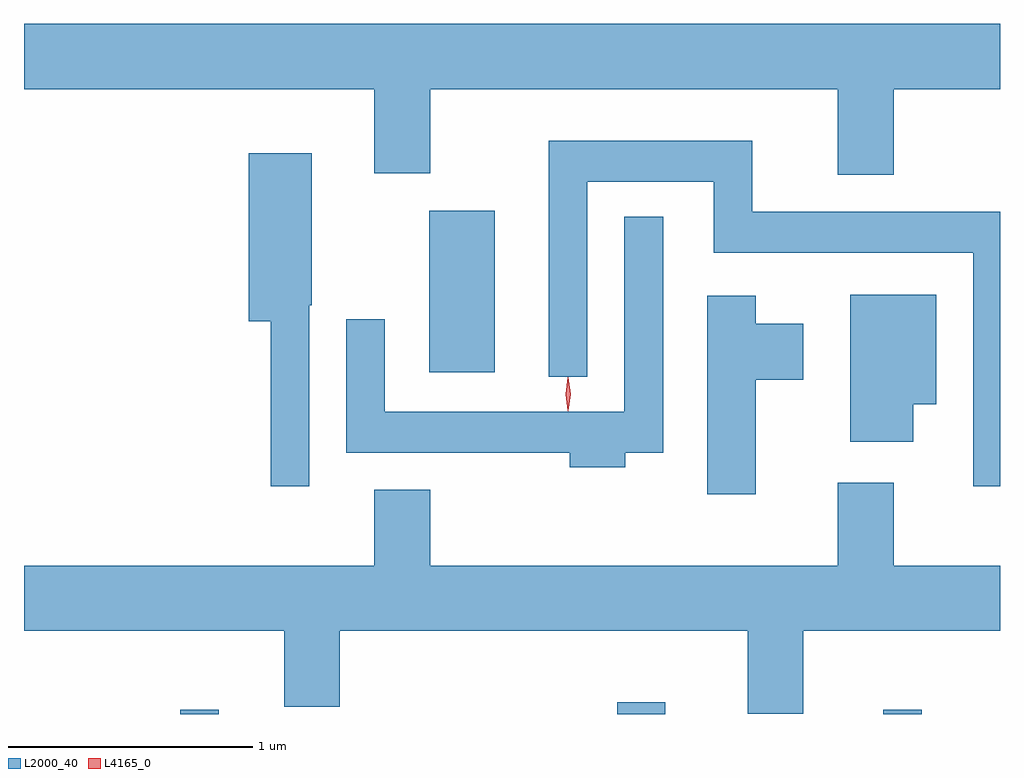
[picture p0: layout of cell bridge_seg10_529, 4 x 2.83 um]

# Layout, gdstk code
import gdstk
lib = gdstk.Library(unit=1e-6, precision=1e-09)
def R(c, l, rs):  # rectangles x0, y0, x1, y1
    for r in rs: c.add(gdstk.rectangle(r[:2], r[2:], *l))
def P(c, l, *ps):  # polygons
    for p in ps: c.add(gdstk.Polygon(p, *l))
L2000_40 = (2000, 40)
L4165_0 = (4165, 0)

bridge_seg10_529 = lib.new_cell('bridge_seg10_529')
R(bridge_seg10_529, L2000_40, [(787.006,2169.075,787.164,2169.093), (788.796,2169.075,788.994,2169.124), (789.886,2169.075,790.044,2169.093), (788.026,2170.476,788.294,2171.139)])
P(bridge_seg10_529, L2000_40, [(789.929,2171.636),(790.365,2171.636),(790.365,2171.904),(786.365,2171.904),(786.365,2171.636),(787.801,2171.636),(787.801,2171.291),(788.029,2171.291),(788.029,2171.636),(789.701,2171.636),(789.701,2171.286),(789.929,2171.286)],
  [(790.365,2171.134),(789.349,2171.134),(789.349,2171.424),(788.516,2171.424),(788.516,2170.458),(788.674,2170.458),(788.674,2171.256),(789.191,2171.256),(789.191,2170.966),(790.256,2170.966),(790.256,2170.008),(790.365,2170.008)],
  [(787.534,2170.75),(787.544,2170.75),(787.544,2171.374),(787.286,2171.374),(787.286,2170.686),(787.376,2170.686),(787.376,2170.008),(787.534,2170.008)],
  [(788.829,2170.146),(788.984,2170.146),(788.984,2171.113),(788.826,2171.113),(788.826,2170.314),(787.844,2170.314),(787.844,2170.693),(787.686,2170.693),(787.686,2170.146),(788.601,2170.146),(788.601,2170.086),(788.829,2170.086)],
  [(790.009,2170.346),(790.104,2170.346),(790.104,2170.794),(789.751,2170.794),(789.751,2170.191),(790.009,2170.191)],
  [(789.364,2170.446),(789.559,2170.446),(789.559,2170.674),(789.364,2170.674),(789.364,2170.789),(789.166,2170.789),(789.166,2169.976),(789.364,2169.976)],
  [(789.559,2169.416),(790.365,2169.416),(790.365,2169.684),(789.929,2169.684),(789.929,2170.024),(789.701,2170.024),(789.701,2169.684),(788.029,2169.684),(788.029,2169.994),(787.801,2169.994),(787.801,2169.684),(786.365,2169.684),(786.365,2169.416),(787.431,2169.416),(787.431,2169.106),(787.659,2169.106),(787.659,2169.416),(789.331,2169.416),(789.331,2169.076),(789.559,2169.076)])
P(bridge_seg10_529, L4165_0, [(788.595,2170.317),(788.594,2170.318),(788.585,2170.386),(788.594,2170.456),(788.595,2170.456),(788.595,2170.456),(788.605,2170.386),(788.595,2170.318)],
  [(788.595,2170.319),(788.594,2170.32),(788.585,2170.386),(788.594,2170.452),(788.595,2170.453),(788.595,2170.452),(788.605,2170.386),(788.595,2170.32)])

lib.write_gds('bridge_seg10_529.gds')
